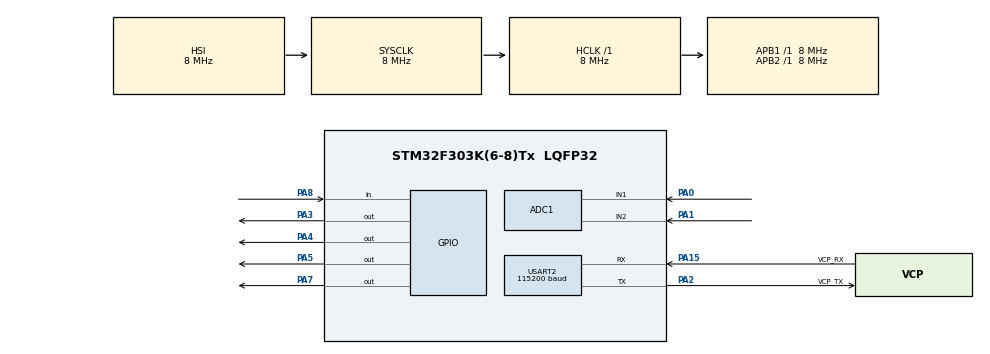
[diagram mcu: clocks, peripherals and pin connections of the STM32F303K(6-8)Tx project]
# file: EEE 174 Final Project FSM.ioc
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ADC1.Channel-1\#ChannelRegularConversion=ADC_CHANNEL_1
ADC1.NbrOfConversionFlag=1
ADC1.Offset-1\#ChannelRegularConversion=0
ADC1.OffsetNumber-1\#ChannelRegularConversion=ADC_OFFSET_NONE
ADC1.Rank-1\#ChannelRegularConversion=1
ADC1.SamplingTime-1\#ChannelRegularConversion=ADC_SAMPLETIME_1CYCLE_5
ADC1.master=1
Mcu.Family=STM32F3
Mcu.Name=STM32F303K(6-8)Tx
Mcu.Package=LQFP32
NVIC.PriorityGroup=NVIC_PRIORITYGROUP_4
PA0.Mode=IN1-Single-Ended
PA0.Signal=ADC1_IN1
PA1.Mode=IN2-Single-Ended
PA1.Signal=ADC1_IN2
PA13.GPIO_Label=SWDIO
PA13.Mode=Serial_Wire
PA13.Signal=SYS_JTMS-SWDIO
PA14.GPIO_Label=SWCLK
PA14.Mode=Serial_Wire
PA14.Signal=SYS_JTCK-SWCLK
PA15.GPIO_Label=VCP_RX
PA15.Mode=Asynchronous
PA15.Signal=USART2_RX
PA2.GPIO_Label=VCP_TX
PA2.Mode=Asynchronous
PA2.Signal=USART2_TX
PA3.Signal=GPIO_Output
PA4.Signal=GPIO_Output
PA5.Signal=GPIO_Output
PA7.Signal=GPIO_Output
PA8.GPIO_PuPd=GPIO_PULLUP
PA8.Signal=GPIO_Input
PF0\ /\ OSC_IN.GPIO_Label=MCO
PF0\ /\ OSC_IN.Mode=HSE-External-Clock-Source
PF0\ /\ OSC_IN.Signal=RCC_OSC_IN
ProjectManager.HeapSize=0x200
ProjectManager.StackSize=0x400
ProjectManager.TargetToolchain=STM32CubeIDE
RCC.AHBFreq_Value=8000000
RCC.APB1Freq_Value=8000000
RCC.APB2Freq_Value=8000000
RCC.CortexFreq_Value=8000000
RCC.HSE_VALUE=8000000
RCC.HSI_VALUE=8000000
RCC.SYSCLKFreq_VALUE=8000000
USART2.BaudRate=115200
USART2.VirtualMode-Asynchronous=VM_ASYNC
board=NUCLEO-F303K8

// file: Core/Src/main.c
/* USER CODE BEGIN Header */
/**
  ******************************************************************************
  * @file           : main.c
  * @brief          : Smart Power Monitoring and Protection System
  ******************************************************************************
  */
/* USER CODE END Header */

#include "main.h"
#include <stdio.h>
#include <string.h>
#include <math.h>

ADC_HandleTypeDef hadc1;
UART_HandleTypeDef huart2;

/* USER CODE BEGIN PV */

/* Thresholds */
#define VOLTAGE_MAX             9.0f
#define CURRENT_MAX             1.5f
#define POWER_MAX               6.0f

#define VOLTAGE_WARN            6.0f
#define CURRENT_WARN            0.8f
#define POWER_WARN              5.0f

/* ADC scaling */
#define ADC_MAX_COUNTS          4095.0f
#define ADC_REF_VOLTAGE         3.3f

/* Voltage divider: R1 from load voltage to PA0, R2 from PA0 to GND */
#define R1                      100000.0f
#define R2                      15000.0f
#define VOLTAGE_DIV_GAIN        ((R1 + R2) / R2)

/* ACS712 5A sensor */
#define CURRENT_SENSOR_ZERO     2.32f
#define CURRENT_SENSOR_SENS     0.185f

#define NUM_SAMPLES             16
#define FAULT_COUNT_LIMIT       3

/* Pin definitions based on your .ioc */
#define RELAY_GPIO_PORT         GPIOA
#define RELAY_PIN               GPIO_PIN_7

#define LED_GREEN_PORT          GPIOA
#define LED_GREEN_PIN           GPIO_PIN_3

#define LED_YELLOW_PORT         GPIOA
#define LED_YELLOW_PIN          GPIO_PIN_4

#define LED_RED_PORT            GPIOA
#define LED_RED_PIN             GPIO_PIN_5

#define RESET_BTN_PORT          GPIOA
#define RESET_BTN_PIN           GPIO_PIN_8

#define VOLTAGE_ADC_CHANNEL     ADC_CHANNEL_1
#define CURRENT_ADC_CHANNEL     ADC_CHANNEL_2

/*
   Relay logic:
   If your relay module is active HIGH:
      RELAY_ON_STATE = GPIO_PIN_SET
      RELAY_OFF_STATE = GPIO_PIN_RESET

   If your relay module is active LOW:
      RELAY_ON_STATE = GPIO_PIN_RESET
      RELAY_OFF_STATE = GPIO_PIN_SET
*/
#define RELAY_ON_STATE          GPIO_PIN_SET
#define RELAY_OFF_STATE         GPIO_PIN_RESET

typedef enum
{
    Setup_State,
    Voltage_Capture_State,
    Current_Capture_State,
    Power_Calc_State,
    Threshold_Check_State,
    Normal_State,
    Warning_State,
    Trip_State,
    Log_State,
    Reset_State,
    Sleep_State
} eSystemState;

/* USER CODE END PV */

void SystemClock_Config(void);
static void MX_GPIO_Init(void);
static void MX_ADC1_Init(void);
static void MX_USART2_UART_Init(void);

/* USER CODE BEGIN PFP */
void SetupHandler(float* fVoltage, float* fCurrent, float* fPower,
                  uint8_t* warningFlag, uint8_t* tripFlag, uint8_t* faultCount);

void VoltageCaptureHandler(float* fVoltage);
void CurrentCaptureHandler(float* fCurrent);
void PowerCalcHandler(float* fVoltage, float* fCurrent, float* fPower);
void ThresholdCheckHandler(float* fVoltage, float* fCurrent, float* fPower,
                           uint8_t* warningFlag, uint8_t* tripFlag, uint8_t* faultCount);

void NormalHandler(void);
void WarningHandler(void);
void TripHandler(void);
void DataLogHandler(float* fVoltage, float* fCurrent, float* fPower);
void ResetHandler(uint8_t* warningFlag, uint8_t* tripFlag, uint8_t* faultCount);
void SleepHandler(void);

uint32_t ReadADC_Average(uint32_t channel);
float ConvertADCToVoltage(uint32_t rawValue);
float ConvertADCToCurrent(uint32_t rawValue);
/* USER CODE END PFP */

/* USER CODE BEGIN 0 */

void SetupHandler(float* fVoltage, float* fCurrent, float* fPower,
                  uint8_t* warningFlag, uint8_t* tripFlag, uint8_t* faultCount)
{
    *fVoltage = 0.0f;
    *fCurrent = 0.0f;
    *fPower = 0.0f;
    *warningFlag = 0;
    *tripFlag = 0;
    *faultCount = 0;

    HAL_GPIO_WritePin(RELAY_GPIO_PORT, RELAY_PIN, RELAY_OFF_STATE);
    HAL_GPIO_WritePin(LED_GREEN_PORT, LED_GREEN_PIN, GPIO_PIN_RESET);
    HAL_GPIO_WritePin(LED_YELLOW_PORT, LED_YELLOW_PIN, GPIO_PIN_RESET);
    HAL_GPIO_WritePin(LED_RED_PORT, LED_RED_PIN, GPIO_PIN_RESET);
}

uint32_t ReadADC_Average(uint32_t channel)
{
    ADC_ChannelConfTypeDef sConfig = {0};
    uint32_t sum = 0;

    sConfig.Channel = channel;
    sConfig.Rank = ADC_REGULAR_RANK_1;
    sConfig.SamplingTime = ADC_SAMPLETIME_19CYCLES_5;
    sConfig.SingleDiff = ADC_SINGLE_ENDED;
    sConfig.OffsetNumber = ADC_OFFSET_NONE;
    sConfig.Offset = 0;

    HAL_ADC_ConfigChannel(&hadc1, &sConfig);

    for (int i = 0; i < NUM_SAMPLES; i++)
    {
        HAL_ADC_Start(&hadc1);
        HAL_ADC_PollForConversion(&hadc1, HAL_MAX_DELAY);
        sum += HAL_ADC_GetValue(&hadc1);
        HAL_ADC_Stop(&hadc1);
    }

    return sum / NUM_SAMPLES;
}

float ConvertADCToVoltage(uint32_t rawValue)
{
    float vadc = ((float)rawValue / ADC_MAX_COUNTS) * ADC_REF_VOLTAGE;
    return vadc * VOLTAGE_DIV_GAIN;
}

float ConvertADCToCurrent(uint32_t rawValue)
{
    float vsense = ((float)rawValue / ADC_MAX_COUNTS) * ADC_REF_VOLTAGE;
    float current = (vsense - CURRENT_SENSOR_ZERO) / CURRENT_SENSOR_SENS;

    current = fabsf(current);

    if (current < 0.03f)
    {
        current = 0.0f;
    }

    return current;
}

void VoltageCaptureHandler(float* fVoltage)
{
    uint32_t rawValue = ReadADC_Average(VOLTAGE_ADC_CHANNEL);
    *fVoltage = ConvertADCToVoltage(rawValue);
}

void CurrentCaptureHandler(float* fCurrent)
{
    uint32_t rawValue = ReadADC_Average(CURRENT_ADC_CHANNEL);
    *fCurrent = ConvertADCToCurrent(rawValue);
}

void PowerCalcHandler(float* fVoltage, float* fCurrent, float* fPower)
{
    *fPower = (*fVoltage) * (*fCurrent);
}

void ThresholdCheckHandler(float* fVoltage, float* fCurrent, float* fPower,
                           uint8_t* warningFlag, uint8_t* tripFlag, uint8_t* faultCount)
{
    *warningFlag = 0;
    *tripFlag = 0;

    if ((*fVoltage > VOLTAGE_WARN) ||
        (*fCurrent > CURRENT_WARN) ||
        (*fPower > POWER_WARN))
    {
        *warningFlag = 1;
    }

    if ((*fVoltage > VOLTAGE_MAX) ||
        (*fCurrent > CURRENT_MAX) ||
        (*fPower > POWER_MAX))
    {
        (*faultCount)++;
    }
    else
    {
        *faultCount = 0;
    }

    if (*faultCount >= FAULT_COUNT_LIMIT)
    {
        *tripFlag = 1;
    }
}

void NormalHandler(void)
{
    HAL_GPIO_WritePin(RELAY_GPIO_PORT, RELAY_PIN, RELAY_ON_STATE);

    HAL_GPIO_WritePin(LED_GREEN_PORT, LED_GREEN_PIN, GPIO_PIN_SET);
    HAL_GPIO_WritePin(LED_YELLOW_PORT, LED_YELLOW_PIN, GPIO_PIN_RESET);
    HAL_GPIO_WritePin(LED_RED_PORT, LED_RED_PIN, GPIO_PIN_RESET);
}

void WarningHandler(void)
{
    HAL_GPIO_WritePin(RELAY_GPIO_PORT, RELAY_PIN, RELAY_ON_STATE);

    HAL_GPIO_WritePin(LED_GREEN_PORT, LED_GREEN_PIN, GPIO_PIN_RESET);
    HAL_GPIO_WritePin(LED_YELLOW_PORT, LED_YELLOW_PIN, GPIO_PIN_SET);
    HAL_GPIO_WritePin(LED_RED_PORT, LED_RED_PIN, GPIO_PIN_RESET);
}

void TripHandler(void)
{
    HAL_GPIO_WritePin(RELAY_GPIO_PORT, RELAY_PIN, RELAY_OFF_STATE);

    HAL_GPIO_WritePin(LED_GREEN_PORT, LED_GREEN_PIN, GPIO_PIN_RESET);
    HAL_GPIO_WritePin(LED_YELLOW_PORT, LED_YELLOW_PIN, GPIO_PIN_RESET);
    HAL_GPIO_WritePin(LED_RED_PORT, LED_RED_PIN, GPIO_PIN_SET);
}

void DataLogHandler(float* fVoltage, float* fCurrent, float* fPower)
{
    char msg[128];

    sprintf(msg, "Voltage: %.2f V, Current: %.2f A, Power: %.2f W\r\n",
            *fVoltage, *fCurrent, *fPower);

    HAL_UART_Transmit(&huart2, (uint8_t*)msg, strlen(msg), HAL_MAX_DELAY);
}

void ResetHandler(uint8_t* warningFlag, uint8_t* tripFlag, uint8_t* faultCount)
{
    /*
       Assumes PA8 uses pull-up:
       button not pressed = HIGH
       button pressed = LOW
    */
    if (HAL_GPIO_ReadPin(RESET_BTN_PORT, RESET_BTN_PIN) == GPIO_PIN_RESET)
    {
        HAL_Delay(50);

        if (HAL_GPIO_ReadPin(RESET_BTN_PORT, RESET_BTN_PIN) == GPIO_PIN_RESET)
        {
            *warningFlag = 0;
            *tripFlag = 0;
            *faultCount = 0;
        }
    }
}

void SleepHandler(void)
{
    HAL_Delay(100);
}

/* USER CODE END 0 */

int main(void)
{
  /* USER CODE BEGIN 1 */
  eSystemState eNextState = Setup_State;

  float fVoltage = 0.0f;
  float fCurrent = 0.0f;
  float fPower = 0.0f;

  uint8_t warningFlag = 0;
  uint8_t tripFlag = 0;
  uint8_t faultCount = 0;
  /* USER CODE END 1 */

  HAL_Init();

  SystemClock_Config();

  MX_GPIO_Init();
  MX_ADC1_Init();
  MX_USART2_UART_Init();

  while (1)
  {
    /* USER CODE BEGIN 3 */

    switch (eNextState)
    {
        case Setup_State:
            SetupHandler(&fVoltage, &fCurrent, &fPower,
                         &warningFlag, &tripFlag, &faultCount);
            eNextState = Voltage_Capture_State;
            break;

        case Voltage_Capture_State:
            VoltageCaptureHandler(&fVoltage);
            eNextState = Current_Capture_State;
            break;

        case Current_Capture_State:
            CurrentCaptureHandler(&fCurrent);
            eNextState = Power_Calc_State;
            break;

        case Power_Calc_State:
            PowerCalcHandler(&fVoltage, &fCurrent, &fPower);
            eNextState = Threshold_Check_State;
            break;

        case Threshold_Check_State:
            ThresholdCheckHandler(&fVoltage, &fCurrent, &fPower,
                                  &warningFlag, &tripFlag, &faultCount);

            if (tripFlag)
            {
                eNextState = Trip_State;
            }
            else if (warningFlag)
            {
                eNextState = Warning_State;
            }
            else
            {
                eNextState = Normal_State;
            }
            break;

        case Normal_State:
            NormalHandler();
            eNextState = Log_State;
            break;

        case Warning_State:
            WarningHandler();
            eNextState = Log_State;
            break;

        case Trip_State:
            TripHandler();
            eNextState = Log_State;
            break;

        case Log_State:
            DataLogHandler(&fVoltage, &fCurrent, &fPower);

            if (tripFlag)
            {
                eNextState = Reset_State;
            }
            else
            {
                eNextState = Sleep_State;
            }
            break;

        case Reset_State:
            ResetHandler(&warningFlag, &tripFlag, &faultCount);

            if (tripFlag == 0)
            {
                eNextState = Sleep_State;
            }
            else
            {
                eNextState = Reset_State;
            }
            break;

        case Sleep_State:
            SleepHandler();
            eNextState = Voltage_Capture_State;
            break;

        default:
            eNextState = Setup_State;
            break;
    }

    /* USER CODE END 3 */
  }
}

void SystemClock_Config(void)
{
  RCC_OscInitTypeDef RCC_OscInitStruct = {0};
  RCC_ClkInitTypeDef RCC_ClkInitStruct = {0};
  RCC_PeriphCLKInitTypeDef PeriphClkInit = {0};

  /** Initializes the RCC Oscillators according to the specified parameters
  * in the RCC_OscInitTypeDef structure.
  */
  RCC_OscInitStruct.OscillatorType = RCC_OSCILLATORTYPE_HSI;
  RCC_OscInitStruct.HSIState = RCC_HSI_ON;
  RCC_OscInitStruct.HSICalibrationValue = RCC_HSICALIBRATION_DEFAULT;
  RCC_OscInitStruct.PLL.PLLState = RCC_PLL_ON;
  RCC_OscInitStruct.PLL.PLLSource = RCC_PLLSOURCE_HSI;
  RCC_OscInitStruct.PLL.PLLMUL = RCC_PLL_MUL2;
  if (HAL_RCC_OscConfig(&RCC_OscInitStruct) != HAL_OK)
  {
    Error_Handler();
  }

  /** Initializes the CPU, AHB and APB buses clocks
  */
  RCC_ClkInitStruct.ClockType = RCC_CLOCKTYPE_HCLK|RCC_CLOCKTYPE_SYSCLK
                              |RCC_CLOCKTYPE_PCLK1|RCC_CLOCKTYPE_PCLK2;
  RCC_ClkInitStruct.SYSCLKSource = RCC_SYSCLKSOURCE_HSI;
  RCC_ClkInitStruct.AHBCLKDivider = RCC_SYSCLK_DIV1;
  RCC_ClkInitStruct.APB1CLKDivider = RCC_HCLK_DIV1;
  RCC_ClkInitStruct.APB2CLKDivider = RCC_HCLK_DIV1;

  if (HAL_RCC_ClockConfig(&RCC_ClkInitStruct, FLASH_LATENCY_0) != HAL_OK)
  {
    Error_Handler();
  }
  PeriphClkInit.PeriphClockSelection = RCC_PERIPHCLK_ADC12;
  PeriphClkInit.Adc12ClockSelection = RCC_ADC12PLLCLK_DIV1;
  if (HAL_RCCEx_PeriphCLKConfig(&PeriphClkInit) != HAL_OK)
  {
    Error_Handler();
  }
}

static void MX_ADC1_Init(void)
{

  ADC_MultiModeTypeDef multimode = {0};
  ADC_ChannelConfTypeDef sConfig = {0};

  /** Common config
  */
  hadc1.Instance = ADC1;
  hadc1.Init.ClockPrescaler = ADC_CLOCK_ASYNC_DIV1;
  hadc1.Init.Resolution = ADC_RESOLUTION_12B;
  hadc1.Init.ScanConvMode = ADC_SCAN_DISABLE;
  hadc1.Init.ContinuousConvMode = DISABLE;
  hadc1.Init.DiscontinuousConvMode = DISABLE;
  hadc1.Init.ExternalTrigConvEdge = ADC_EXTERNALTRIGCONVEDGE_NONE;
  hadc1.Init.ExternalTrigConv = ADC_SOFTWARE_START;
  hadc1.Init.DataAlign = ADC_DATAALIGN_RIGHT;
  hadc1.Init.NbrOfConversion = 1;
  hadc1.Init.DMAContinuousRequests = DISABLE;
  hadc1.Init.EOCSelection = ADC_EOC_SINGLE_CONV;
  hadc1.Init.LowPowerAutoWait = DISABLE;
  hadc1.Init.Overrun = ADC_OVR_DATA_OVERWRITTEN;
  if (HAL_ADC_Init(&hadc1) != HAL_OK)
  {
    Error_Handler();
  }

  /** Configure the ADC multi-mode
  */
  multimode.Mode = ADC_MODE_INDEPENDENT;
  if (HAL_ADCEx_MultiModeConfigChannel(&hadc1, &multimode) != HAL_OK)
  {
    Error_Handler();
  }

  /** Configure Regular Channel
  */
  sConfig.Channel = ADC_CHANNEL_1;
  sConfig.Rank = ADC_REGULAR_RANK_1;
  sConfig.SingleDiff = ADC_SINGLE_ENDED;
  sConfig.SamplingTime = ADC_SAMPLETIME_1CYCLE_5;
  sConfig.OffsetNumber = ADC_OFFSET_NONE;
  sConfig.Offset = 0;
  if (HAL_ADC_ConfigChannel(&hadc1, &sConfig) != HAL_OK)
  {
    Error_Handler();
  }

}

static void MX_USART2_UART_Init(void)
{

  huart2.Instance = USART2;
  huart2.Init.BaudRate = 115200;
  huart2.Init.WordLength = UART_WORDLENGTH_8B;
  huart2.Init.StopBits = UART_STOPBITS_1;
  huart2.Init.Parity = UART_PARITY_NONE;
  huart2.Init.Mode = UART_MODE_TX_RX;
  huart2.Init.HwFlowCtl = UART_HWCONTROL_NONE;
  huart2.Init.OverSampling = UART_OVERSAMPLING_16;
  huart2.Init.OneBitSampling = UART_ONE_BIT_SAMPLE_DISABLE;
  huart2.AdvancedInit.AdvFeatureInit = UART_ADVFEATURE_NO_INIT;
  if (HAL_UART_Init(&huart2) != HAL_OK)
  {
    Error_Handler();
  }

}

static void MX_GPIO_Init(void)
{
  GPIO_InitTypeDef GPIO_InitStruct = {0};

  /* GPIO Ports Clock Enable */
  __HAL_RCC_GPIOF_CLK_ENABLE();
  __HAL_RCC_GPIOA_CLK_ENABLE();

  /*Configure GPIO pin Output Level */
  HAL_GPIO_WritePin(GPIOA, GPIO_PIN_3|GPIO_PIN_4|GPIO_PIN_5|GPIO_PIN_7, GPIO_PIN_RESET);

  /*Configure GPIO pins : PA3 PA4 PA5 PA7 */
  GPIO_InitStruct.Pin = GPIO_PIN_3|GPIO_PIN_4|GPIO_PIN_5|GPIO_PIN_7;
  GPIO_InitStruct.Mode = GPIO_MODE_OUTPUT_PP;
  GPIO_InitStruct.Pull = GPIO_NOPULL;
  GPIO_InitStruct.Speed = GPIO_SPEED_FREQ_LOW;
  HAL_GPIO_Init(GPIOA, &GPIO_InitStruct);

  /*Configure GPIO pin : PA8 */
  GPIO_InitStruct.Pin = GPIO_PIN_8;
  GPIO_InitStruct.Mode = GPIO_MODE_INPUT;
  GPIO_InitStruct.Pull = GPIO_PULLUP;
  HAL_GPIO_Init(GPIOA, &GPIO_InitStruct);

}

void Error_Handler(void)
{
  __disable_irq();
  while (1)
  {
  }
}
